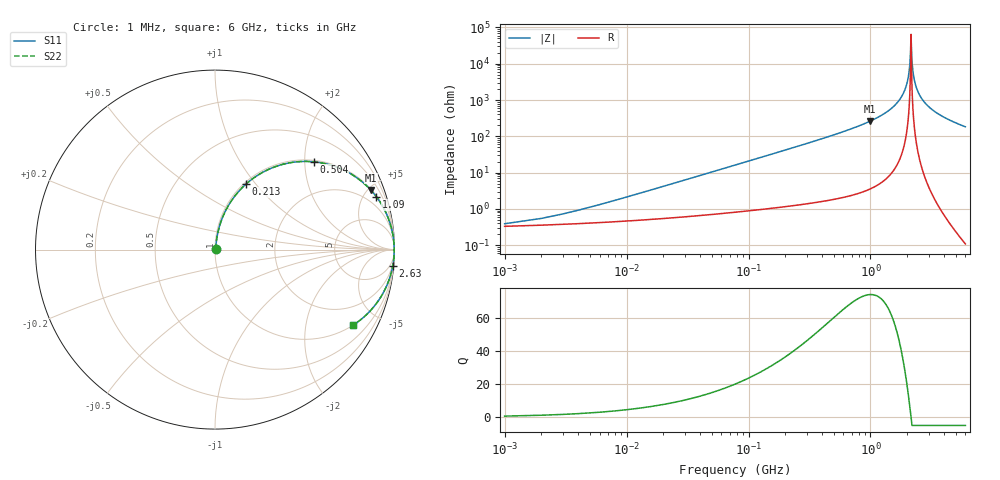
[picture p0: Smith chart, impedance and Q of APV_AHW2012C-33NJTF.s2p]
! APV AHW2012C-33NJTF 33 nH 0805 wire-wound (L7 L8)
! Lumped model fitted to APV datasheet: Q=60@500MHz, SRF=2150MHz, DCR=0.27 ohm
! Model: (L + DCR + k*sqrt(f)) || Cp ; L=3.3e-08 H, Cp=1.66e-13 F, k=6.1e-05
! Generated by make_s2p.py - an estimate, not a measurement
! Series-thru 2-port: part connected between port 1 and port 2.
# Hz S RI R 50
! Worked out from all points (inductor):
!   1500 points, 1 MHz to 6 GHz, reference 50 ohm
!   read as one part in series: L = 33 nH near 8 MHz
!   highest Q = 73.9 at 987 MHz (marker M1), where L = 41.8 nH
!   self-resonance near 2.14 GHz
!   S11 on the Smith chart (normalised r, x): 1 MHz: 1.01, +0.00; 213 MHz: 1.02, +0.89; 504 MHz: 1.04, +2.21; 1.09 GHz: 1.08, +6.08; 2.63 GHz: 1, -22; 6 GHz: 1.00, -3.67
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1000000  0.0033 0.00206  0.9967 -0.00206  0.9967 -0.00206  0.0033 0.00206
5000000  0.00415 0.0103  0.9958 -0.0103  0.9958 -0.0103  0.00415 0.0103
1.9e7  0.00686 0.0389  0.9931 -0.0389  0.9931 -0.0389  0.00686 0.0389
7.8e7  0.033 0.1553  0.967 -0.1553  0.967 -0.1553  0.033 0.1553
2.13e8  0.1725 0.3648  0.8275 -0.3648  0.8275 -0.3648  0.1725 0.3648
3.31e8  0.334 0.4615  0.666 -0.4615  0.666 -0.4615  0.334 0.4615
5.04e8  0.5494 0.4893  0.4506 -0.4893  0.4506 -0.4893  0.5494 0.4893
9.87e8  0.8672 0.3327  0.1328 -0.3327  0.1328 -0.3327  0.8672 0.3327
1.09e9  0.8993 0.2943  0.1007 -0.2943  0.1007 -0.2943  0.8993 0.2943
1.41e9  0.9607 0.1867  0.0393 -0.1867  0.0393 -0.1867  0.9607 0.1867
1.68e9  0.9855 0.1099  0.0145 -0.1099  0.0145 -0.1099  0.9855 0.1099
1.89e9  0.9948 0.0576  0.00523 -0.0576  0.00523 -0.0576  0.9948 0.0576
2.01e9  0.9974 0.0301  0.00263 -0.0301  0.00263 -0.0301  0.9974 0.0301
2.05e9  0.9979 0.0213  0.00213 -0.0213  0.00213 -0.0213  0.9979 0.0213
2.1e9  0.9983 0.0105  0.00173 -0.0105  0.00173 -0.0105  0.9983 0.0105
2.15e9  0.9984 -1.08e-05  0.00156 1.08e-05  0.00156 1.08e-05  0.9984 -1.08e-05
2.2e9  0.9984 -0.0103  0.00161 0.0103  0.00161 0.0103  0.9984 -0.0103
2.26e9  0.9981 -0.0223  0.00194 0.0223  0.00194 0.0223  0.9981 -0.0223
2.33e9  0.9973 -0.036  0.00267 0.036  0.00267 0.036  0.9973 -0.036
2.63e9  0.9907 -0.0901  0.00933 0.0901  0.00933 0.0901  0.9907 -0.0901
3.58e9  0.9454 -0.2256  0.0546 0.2256  0.0546 0.2256  0.9454 -0.2256
6e9  0.7705 -0.4202  0.2295 0.4202  0.2295 0.4202  0.7705 -0.4202
